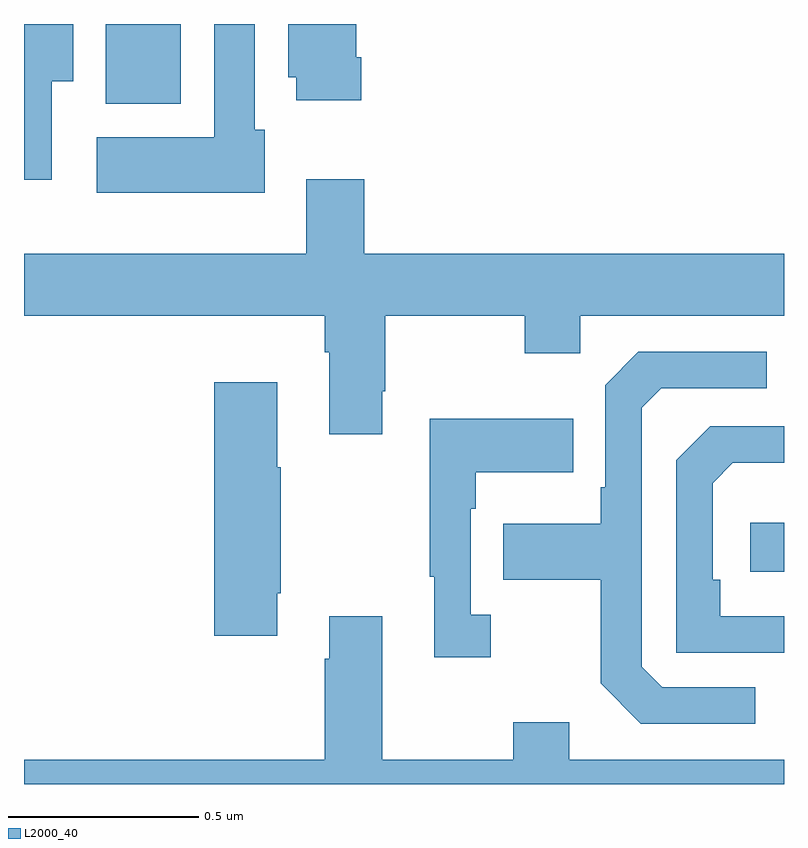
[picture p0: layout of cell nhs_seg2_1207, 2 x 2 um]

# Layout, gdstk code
import gdstk
lib = gdstk.Library(unit=1e-6, precision=1e-09)
def R(c, l, rs):  # rectangles x0, y0, x1, y1
    for r in rs: c.add(gdstk.rectangle(r[:2], r[2:], *l))
def P(c, l, *ps):  # polygons
    for p in ps: c.add(gdstk.Polygon(p, *l))
L2000_40 = (2000, 40)

nhs_seg2_1207 = lib.new_cell('nhs_seg2_1207')
R(nhs_seg2_1207, L2000_40, [(127.911,584.358,128,584.488), (126.215,585.59,126.412,585.8)])
P(nhs_seg2_1207, L2000_40, [(126.887,585.712),(126.874,585.712),(126.874,585.8),(126.695,585.8),(126.695,585.66),(126.716,585.66),(126.716,585.6),(126.887,585.6)],
  [(126.073,585.649),(126.13,585.649),(126.13,585.8),(126,585.8),(126,585.39),(126.073,585.39)],
  [(126.634,585.522),(126.607,585.522),(126.607,585.8),(126.5,585.8),(126.5,585.502),(126.191,585.502),(126.191,585.356),(126.634,585.356)],
  [(126.943,584.833),(126.951,584.833),(126.951,585.032),(127.318,585.032),(127.318,584.933),(127.464,584.933),(127.464,585.032),(128,585.032),(128,585.196),(126.896,585.196),(126.896,585.391),(126.743,585.391),(126.743,585.196),(126,585.196),(126,585.032),(126.791,585.032),(126.791,584.936),(126.803,584.936),(126.803,584.721),(126.943,584.721)],
  [(127.924,584.055),(127.68,584.055),(127.626,584.109),(127.626,584.79),(127.677,584.841),(127.954,584.841),(127.954,584.937),(127.617,584.937),(127.53,584.85),(127.53,584.581),(127.518,584.581),(127.518,584.485),(127.261,584.485),(127.261,584.338),(127.518,584.338),(127.518,584.065),(127.623,583.959),(127.924,583.959)],
  [(126.667,584.302),(126.675,584.302),(126.675,584.633),(126.667,584.633),(126.667,584.857),(126.5,584.857),(126.5,584.19),(126.667,584.19)],
  [(127.228,584.246),(127.176,584.246),(127.176,584.525),(127.189,584.525),(127.189,584.621),(127.445,584.621),(127.445,584.761),(127.068,584.761),(127.068,584.345),(127.079,584.345),(127.079,584.133),(127.228,584.133)],
  [(128,584.241),(127.832,584.241),(127.832,584.338),(127.812,584.338),(127.812,584.592),(127.865,584.645),(128,584.645),(128,584.742),(127.806,584.742),(127.716,584.652),(127.716,584.145),(128,584.145)],
  [(128,583.864),(127.435,583.864),(127.435,583.963),(127.288,583.963),(127.288,583.864),(126.943,583.864),(126.943,584.242),(126.803,584.242),(126.803,584.129),(126.791,584.129),(126.791,583.864),(126,583.864),(126,583.8),(128,583.8)])

lib.write_gds('nhs_seg2_1207.gds')
